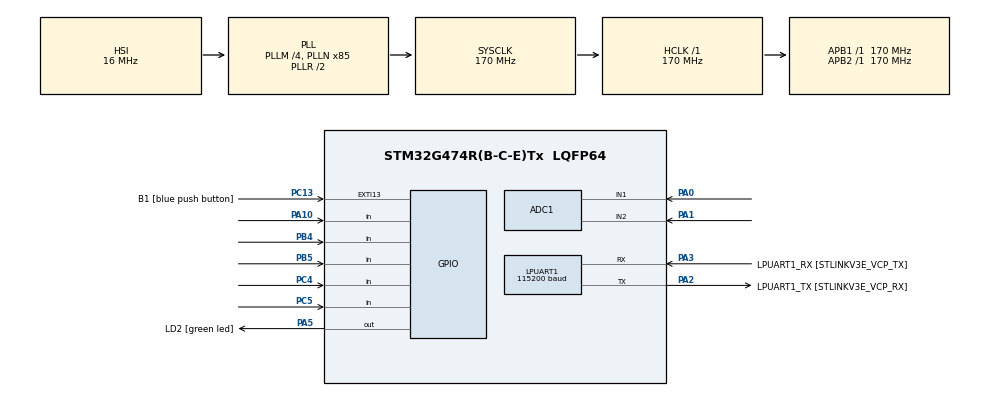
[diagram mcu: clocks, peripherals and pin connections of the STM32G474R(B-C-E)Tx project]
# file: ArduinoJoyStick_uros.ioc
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ADC1.Channel-0\#ChannelRegularConversion=ADC_CHANNEL_1
ADC1.Channel-1\#ChannelRegularConversion=ADC_CHANNEL_2
ADC1.ContinuousConvMode=ENABLE
ADC1.DMAContinuousRequests=ENABLE
ADC1.NbrOfConversion=2
ADC1.NbrOfConversionFlag=1
ADC1.OffsetNumber-0\#ChannelRegularConversion=ADC_OFFSET_NONE
ADC1.OffsetNumber-1\#ChannelRegularConversion=ADC_OFFSET_NONE
ADC1.Rank-0\#ChannelRegularConversion=1
ADC1.Rank-1\#ChannelRegularConversion=2
ADC1.SamplingTime-0\#ChannelRegularConversion=ADC_SAMPLETIME_640CYCLES_5
ADC1.SamplingTime-1\#ChannelRegularConversion=ADC_SAMPLETIME_640CYCLES_5
ADC1.master=1
Dma.ADC1.2.Direction=DMA_PERIPH_TO_MEMORY
Dma.ADC1.2.EventEnable=DISABLE
Dma.ADC1.2.Instance=DMA1_Channel3
Dma.ADC1.2.MemDataAlignment=DMA_MDATAALIGN_HALFWORD
Dma.ADC1.2.MemInc=DMA_MINC_ENABLE
Dma.ADC1.2.Mode=DMA_CIRCULAR
Dma.ADC1.2.PeriphDataAlignment=DMA_PDATAALIGN_HALFWORD
Dma.ADC1.2.PeriphInc=DMA_PINC_DISABLE
Dma.ADC1.2.Polarity=HAL_DMAMUX_REQ_GEN_RISING
Dma.ADC1.2.Priority=DMA_PRIORITY_LOW
Dma.ADC1.2.RequestNumber=1
Dma.ADC1.2.SignalID=NONE
Dma.ADC1.2.SyncEnable=DISABLE
Dma.ADC1.2.SyncPolarity=HAL_DMAMUX_SYNC_NO_EVENT
Dma.ADC1.2.SyncRequestNumber=1
Dma.ADC1.2.SyncSignalID=NONE
Dma.LPUART1_RX.0.Direction=DMA_PERIPH_TO_MEMORY
Dma.LPUART1_RX.0.EventEnable=DISABLE
Dma.LPUART1_RX.0.Instance=DMA1_Channel1
Dma.LPUART1_RX.0.MemDataAlignment=DMA_MDATAALIGN_BYTE
Dma.LPUART1_RX.0.MemInc=DMA_MINC_ENABLE
Dma.LPUART1_RX.0.Mode=DMA_CIRCULAR
Dma.LPUART1_RX.0.PeriphDataAlignment=DMA_PDATAALIGN_BYTE
Dma.LPUART1_RX.0.PeriphInc=DMA_PINC_DISABLE
Dma.LPUART1_RX.0.Polarity=HAL_DMAMUX_REQ_GEN_RISING
Dma.LPUART1_RX.0.Priority=DMA_PRIORITY_VERY_HIGH
Dma.LPUART1_RX.0.RequestNumber=1
Dma.LPUART1_RX.0.SignalID=NONE
Dma.LPUART1_RX.0.SyncEnable=DISABLE
Dma.LPUART1_RX.0.SyncPolarity=HAL_DMAMUX_SYNC_NO_EVENT
Dma.LPUART1_RX.0.SyncRequestNumber=1
Dma.LPUART1_RX.0.SyncSignalID=NONE
Dma.LPUART1_TX.1.Direction=DMA_MEMORY_TO_PERIPH
Dma.LPUART1_TX.1.EventEnable=DISABLE
Dma.LPUART1_TX.1.Instance=DMA1_Channel2
Dma.LPUART1_TX.1.MemDataAlignment=DMA_MDATAALIGN_BYTE
Dma.LPUART1_TX.1.MemInc=DMA_MINC_ENABLE
Dma.LPUART1_TX.1.Mode=DMA_NORMAL
Dma.LPUART1_TX.1.PeriphDataAlignment=DMA_PDATAALIGN_BYTE
Dma.LPUART1_TX.1.PeriphInc=DMA_PINC_DISABLE
Dma.LPUART1_TX.1.Polarity=HAL_DMAMUX_REQ_GEN_RISING
Dma.LPUART1_TX.1.Priority=DMA_PRIORITY_VERY_HIGH
Dma.LPUART1_TX.1.RequestNumber=1
Dma.LPUART1_TX.1.SignalID=NONE
Dma.LPUART1_TX.1.SyncEnable=DISABLE
Dma.LPUART1_TX.1.SyncPolarity=HAL_DMAMUX_SYNC_NO_EVENT
Dma.LPUART1_TX.1.SyncRequestNumber=1
Dma.LPUART1_TX.1.SyncSignalID=NONE
Dma.Request0=LPUART1_RX
Dma.Request1=LPUART1_TX
Dma.Request2=ADC1
FREERTOS.Tasks01=defaultTask,24,3000,StartDefaultTask,As weak,NULL,Static,defaultTaskBuffer,defaultTaskControlBlock
FREERTOS.configENABLE_FPU=1
IWDG.Reload=2499
LPUART1.BaudRate=115200
Mcu.Family=STM32G4
Mcu.Name=STM32G474R(B-C-E)Tx
Mcu.Package=LQFP64
NVIC.ADC1_2_IRQn=true\:5\:0\:false\:false\:true\:true\:true\:true\:true
NVIC.DMA1_Channel1_IRQn=true\:5\:0\:false\:false\:true\:true\:false\:true\:true
NVIC.DMA1_Channel2_IRQn=true\:5\:0\:false\:false\:true\:true\:false\:true\:true
NVIC.DMA1_Channel3_IRQn=true\:5\:0\:false\:false\:true\:true\:false\:true\:true
NVIC.EXTI15_10_IRQn=true\:5\:0\:false\:false\:true\:true\:true\:true\:true
NVIC.LPUART1_IRQn=true\:5\:0\:false\:false\:true\:true\:true\:true\:true
NVIC.PriorityGroup=NVIC_PRIORITYGROUP_4
NVIC.TIM1_UP_TIM16_IRQn=true\:15\:0\:false\:false\:true\:false\:false\:true\:true
NVIC.TimeBase=TIM1_UP_TIM16_IRQn
NVIC.TimeBaseIP=TIM1
PA0.Mode=IN1-Single-Ended
PA0.Signal=ADC1_IN1
PA1.Mode=IN2-Single-Ended
PA1.Signal=ADC1_IN2
PA10.GPIO_PuPd=GPIO_PULLUP
PA10.Signal=GPIO_Input
PA13.GPIO_Label=T_SWDIO
PA13.Signal=SYS_JTMS-SWDIO
PA14.GPIO_Label=T_SWCLK
PA14.Signal=SYS_JTCK-SWCLK
PA2.GPIO_Label=LPUART1_TX [STLINKV3E_VCP_RX]
PA2.Mode=Asynchronous
PA2.Signal=LPUART1_TX
PA3.GPIO_Label=LPUART1_RX [STLINKV3E_VCP_TX]
PA3.Mode=Asynchronous
PA3.Signal=LPUART1_RX
PA5.GPIO_Label=LD2 [green led]
PA5.Signal=GPIO_Output
PB3.GPIO_Label=T_SWO
PB3.Signal=SYS_JTDO-SWO
PB4.GPIO_PuPd=GPIO_PULLUP
PB4.Signal=GPIO_Input
PB5.GPIO_PuPd=GPIO_PULLUP
PB5.Signal=GPIO_Input
PB8-BOOT0.Signal=I2C1_SCL
PB9.Signal=I2C1_SDA
PC13.GPIO_Label=B1 [blue push button]
PC13.Signal=GPXTI13
PC4.GPIO_PuPd=GPIO_PULLUP
PC4.Signal=GPIO_Input
PC5.GPIO_PuPd=GPIO_PULLUP
PC5.Signal=GPIO_Input
ProjectManager.HeapSize=0x200
ProjectManager.StackSize=0x400
ProjectManager.TargetToolchain=STM32CubeIDE
RCC.ADC12Freq_Value=170000000
RCC.ADC345Freq_Value=170000000
RCC.AHBFreq_Value=170000000
RCC.APB1Freq_Value=170000000
RCC.APB1TimFreq_Value=170000000
RCC.APB2Freq_Value=170000000
RCC.APB2TimFreq_Value=170000000
RCC.CortexFreq_Value=170000000
RCC.EXTERNAL_CLOCK_VALUE=12288000
RCC.HCLKFreq_Value=170000000
RCC.HSE_VALUE=24000000
RCC.HSI48_VALUE=48000000
RCC.HSI_VALUE=16000000
RCC.LSE_VALUE=32768
RCC.PLLM=RCC_PLLM_DIV4
RCC.PLLN=85
RCC.RTCClockSelection=RCC_RTCCLKSOURCE_LSE
RCC.SYSCLKFreq_VALUE=170000000
RCC.SYSCLKSource=RCC_SYSCLKSOURCE_PLLCLK
RCC.USBFreq_Value=170000000
RCC.VCOOutputFreq_Value=340000000
VP_FREERTOS_VS_CMSIS_V2.Mode=CMSIS_V2
VP_IWDG_VS_IWDG.Mode=IWDG_Activate
VP_SYS_VS_DBSignals.Mode=DisableDeadBatterySignals
VP_SYS_VS_tim1.Mode=TIM1
board=NUCLEO-G474RE

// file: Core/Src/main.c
/* USER CODE BEGIN Header */
/**
 ******************************************************************************
 * @file           : main.c
 * @brief          : Main program body
 ******************************************************************************
 * @attention
 *
 * Copyright (c) 2024 STMicroelectronics.
 * All rights reserved.
 *
 * This software is licensed under terms that can be found in the LICENSE file
 * in the root directory of this software component.
 * If no LICENSE file comes with this software, it is provided AS-IS.
 *
 ******************************************************************************
 */
/* USER CODE END Header */
#include "main.h"
#include "cmsis_os.h"
#include "adc.h"
#include "dma.h"
#include "iwdg.h"
#include "usart.h"
#include "gpio.h"

/* USER CODE BEGIN Includes */
#include <rcl/rcl.h>
#include <rcl/error_handling.h>
#include <rclc/rclc.h>
#include <rclc/executor.h>
#include <uxr/client/transport.h>
#include <rmw_microxrcedds_c/config.h>
#include <rmw_microros/rmw_microros.h>
#include <math.h>
#include <string.h>
/* Includes MSG Type */
#include <geometry_msgs/msg/twist.h>
#include <rrr_robot_interfaces/srv/rrr_target_path.h>
#include <rrr_robot_interfaces/srv/rrr_mode.h>
#include "rosidl_runtime_c/string_functions.h"
//#include

/* USER CODE END Includes */

/* USER CODE BEGIN PM */
#define RCSOFTCHECK(fn) if (fn != RCL_RET_OK) {};
/* USER CODE END PM */

/* USER CODE BEGIN PV */

/* IDK */
rcl_init_options_t init_options;

/* Node */
rclc_support_t support;
rcl_allocator_t allocator;
rcl_node_t node;
rclc_executor_t executor;

/* Service Client*/
rcl_client_t savepath_client;
rcl_client_t ref_client;
rcl_client_t mode_client;

/* pub */
rcl_publisher_t cmdvel_publisher;

/* Massage */
geometry_msgs__msg__Twist twist_msg;
rrr_robot_interfaces__srv__RRRTargetPath_Request savepath_request;
rrr_robot_interfaces__srv__RRRMode_Request mode_request;
rrr_robot_interfaces__srv__RRRMode_Request ref_request;

/* Timer */
rcl_timer_t timer;

/* Start Joy Parameter */
//Joy XY
uint16_t ADC_RawRead[200] = { 0 };
uint16_t x_axis = 0;
uint16_t y_axis = 0;
uint16_t center_x = 0;
uint16_t center_y = 0;

// Joy Z
float linearZ_velocity = 0.0f;
uint8_t z_step = 0.1f;

//mode
uint16_t teleop_num = 0;
uint16_t ref_num = 0;

// Stare Button
GPIO_PinState aButtonState = GPIO_PIN_RESET;
GPIO_PinState bButtonState = GPIO_PIN_RESET;
GPIO_PinState cButtonState = GPIO_PIN_RESET;
GPIO_PinState dButtonState = GPIO_PIN_RESET;
GPIO_PinState kButtonState = GPIO_PIN_RESET;

// Prev Button
GPIO_PinState aPrevButton = GPIO_PIN_RESET;
GPIO_PinState bPrevButton = GPIO_PIN_RESET;
GPIO_PinState cPrevButton = GPIO_PIN_RESET;
GPIO_PinState dPrevButton = GPIO_PIN_RESET;
GPIO_PinState kPrevButton = GPIO_PIN_RESET;
/* End Joy Parameter */

//DEBUG
uint16_t DEBUG_Count = 0;

/* USER CODE END PV */

void SystemClock_Config(void);
void MX_FREERTOS_Init(void);
/* USER CODE BEGIN PFP */
/* Start MicroRos Function*/
bool cubemx_transport_open(struct uxrCustomTransport *transport);
bool cubemx_transport_close(struct uxrCustomTransport *transport);
size_t cubemx_transport_write(struct uxrCustomTransport *transport,
		const uint8_t *buf, size_t len, uint8_t *err);
size_t cubemx_transport_read(struct uxrCustomTransport *transport, uint8_t *buf,
		size_t len, int timeout, uint8_t *err);

void* microros_allocate(size_t size, void *state);
void microros_deallocate(void *pointer, void *state);
void* microros_reallocate(void *pointer, size_t size, void *state);
void* microros_zero_allocate(size_t number_of_elements, size_t size_of_element, void *state);
/* End MicroRos Function*/

/* Start my Function*/
void ReadADC_AVERAGE();
void SentCMDVEL();
void CheckButtonK();
void CheckButtonB();
void CheckButtonD();
// Client Callback
//void SavePath_client_callback(const rrr_robot_interfaces__srv__RRRTargetPath_Response * response_msg);
void ref_client_callback(const void * response_msg);
void mode_client_callback(const void * response_msg);
/* End my Function*/

/* USER CODE END PFP */

/* USER CODE BEGIN 0 */
/* USER CODE END Header_StartDefaultTask */

/* Start Out of Start DefaultTask */
void timer_callback(rcl_timer_t *timer, int64_t last_call_time) {
	if (timer != NULL) {
		/* Code here*/
		ReadADC_AVERAGE();
		SentCMDVEL();
		CheckButtonK();
		CheckButtonB();
		CheckButtonD();

		HAL_IWDG_Refresh(&hiwdg);
	}
}

void StartDefaultTask(void *argument) {
	/* USER CODE BEGIN 5 */

	// micro-ROS configuration
	rmw_uros_set_custom_transport(true, (void*) &hlpuart1, cubemx_transport_open, cubemx_transport_close, cubemx_transport_write, cubemx_transport_read);

	rcl_allocator_t freeRTOS_allocator =
			rcutils_get_zero_initialized_allocator();
	freeRTOS_allocator.allocate = microros_allocate;
	freeRTOS_allocator.deallocate = microros_deallocate;
	freeRTOS_allocator.reallocate = microros_reallocate;
	freeRTOS_allocator.zero_allocate = microros_zero_allocate;

	if (!rcutils_set_default_allocator(&freeRTOS_allocator)) {
		printf("Error on default allocators (line %d)\n", __LINE__);
	}

	// micro-ROS app
	allocator = rcl_get_default_allocator();

	//create init_options
	init_options = rcl_get_zero_initialized_init_options();
	RCSOFTCHECK(rcl_init_options_init(&init_options, allocator));
	RCSOFTCHECK(rcl_init_options_set_domain_id(&init_options, 26)); //Set Domain ID

	rclc_support_init_with_options(
			&support, 0,
			NULL,
			&init_options,
			&allocator
	);

	// create node
	rclc_node_init_default(
			&node,
			"cubemx_node",
			"",
			&support
	); //Node name

	// create cmd_vel publisher
	rclc_publisher_init_default(
			&cmdvel_publisher,
			&node,
			ROSIDL_GET_MSG_TYPE_SUPPORT(geometry_msgs, msg, Twist),
			"/cmd_vel"
	);

	// create save_path client
	rclc_client_init_default(
			&savepath_client,
			&node,
			ROSIDL_GET_SRV_TYPE_SUPPORT(rrr_robot_interfaces, srv, RRRTargetPath),
			"/SavePath"
	);

	// create Ref client
	rclc_client_init_default(
			&ref_client,
			&node,
			ROSIDL_GET_SRV_TYPE_SUPPORT(rrr_robot_interfaces, srv, RRRMode), //Wait to change
			"/Ref"
	);

	// create Mode client
	rclc_client_init_default(
			&mode_client,
			&node,
			ROSIDL_GET_SRV_TYPE_SUPPORT(rrr_robot_interfaces, srv, RRRMode), //Wait to change
			"/Mode"
	);

	// create Timer
	rclc_timer_init_default(
			&timer, &support,
			RCL_MS_TO_NS(10),
			timer_callback
	);

	// create executer
	executor = rclc_executor_get_zero_initialized_executor();
	rclc_executor_init(&executor, &support.context, 1, &allocator);
	rclc_executor_add_timer(&executor, &timer);
//	rclc_executor_add_client(&executor, &savepath_client, &savepath_response, SavePath_client_callback);
	rclc_executor_spin(&executor); //ต้องเรียกก่อนถึงจะเริ่มทำงาน

	for (;;) {
		osDelay(10);
	}
	/* USER CODE END 5 */
}
/* USER CODE END 0 */

int main(void)
{

  /* MCU Configuration--------------------------------------------------------*/

  /* Reset of all peripherals, Initializes the Flash interface and the Systick. */
  HAL_Init();

  /* Configure the system clock */
  SystemClock_Config();

  /* Initialize all configured peripherals */
  MX_GPIO_Init();
  MX_DMA_Init();
  MX_LPUART1_UART_Init();
  MX_ADC1_Init();
  MX_IWDG_Init();
  /* USER CODE BEGIN 2 */
  //    	rcl_send_request(&savepath_client, &savepath_request, &sequence_number);

  /* Start Analog Read */
  HAL_ADCEx_Calibration_Start(&hadc1, ADC_SINGLE_ENDED);
  HAL_ADC_Start_DMA(&hadc1, ADC_RawRead, 200);
  /* End Analog Read */

  /* USER CODE END 2 */

  /* Init scheduler */
  osKernelInitialize();

  /* Call init function for freertos objects (in cmsis_os2.c) */
  MX_FREERTOS_Init();

  /* Start scheduler */
  osKernelStart();

  /* We should never get here as control is now taken by the scheduler */

  /* Infinite loop */
	while (1) {

	}
}

void SystemClock_Config(void)
{
  RCC_OscInitTypeDef RCC_OscInitStruct = {0};
  RCC_ClkInitTypeDef RCC_ClkInitStruct = {0};

  /** Configure the main internal regulator output voltage
  */
  HAL_PWREx_ControlVoltageScaling(PWR_REGULATOR_VOLTAGE_SCALE1_BOOST);

  /** Initializes the RCC Oscillators according to the specified parameters
  * in the RCC_OscInitTypeDef structure.
  */
  RCC_OscInitStruct.OscillatorType = RCC_OSCILLATORTYPE_HSI|RCC_OSCILLATORTYPE_LSI;
  RCC_OscInitStruct.HSIState = RCC_HSI_ON;
  RCC_OscInitStruct.HSICalibrationValue = RCC_HSICALIBRATION_DEFAULT;
  RCC_OscInitStruct.LSIState = RCC_LSI_ON;
  RCC_OscInitStruct.PLL.PLLState = RCC_PLL_ON;
  RCC_OscInitStruct.PLL.PLLSource = RCC_PLLSOURCE_HSI;
  RCC_OscInitStruct.PLL.PLLM = RCC_PLLM_DIV4;
  RCC_OscInitStruct.PLL.PLLN = 85;
  RCC_OscInitStruct.PLL.PLLP = RCC_PLLP_DIV2;
  RCC_OscInitStruct.PLL.PLLQ = RCC_PLLQ_DIV2;
  RCC_OscInitStruct.PLL.PLLR = RCC_PLLR_DIV2;
  if (HAL_RCC_OscConfig(&RCC_OscInitStruct) != HAL_OK)
  {
    Error_Handler();
  }

  /** Initializes the CPU, AHB and APB buses clocks
  */
  RCC_ClkInitStruct.ClockType = RCC_CLOCKTYPE_HCLK|RCC_CLOCKTYPE_SYSCLK
                              |RCC_CLOCKTYPE_PCLK1|RCC_CLOCKTYPE_PCLK2;
  RCC_ClkInitStruct.SYSCLKSource = RCC_SYSCLKSOURCE_PLLCLK;
  RCC_ClkInitStruct.AHBCLKDivider = RCC_SYSCLK_DIV1;
  RCC_ClkInitStruct.APB1CLKDivider = RCC_HCLK_DIV1;
  RCC_ClkInitStruct.APB2CLKDivider = RCC_HCLK_DIV1;

  if (HAL_RCC_ClockConfig(&RCC_ClkInitStruct, FLASH_LATENCY_4) != HAL_OK)
  {
    Error_Handler();
  }
}

/* USER CODE BEGIN 4 */

void ReadADC_AVERAGE() {
	uint32_t temp_1 = 0;
	uint32_t temp_2 = 0;
	for (int i = 0; i < 200; i++) {
		if (i % 2 == 0) {
			temp_1 += ADC_RawRead[i];
		} else if (i % 2 == 1) {
			temp_2 += ADC_RawRead[i];
		}
	}
	x_axis = (temp_1 / 100);
	y_axis = (temp_2 / 100);
}

void SentCMDVEL(){
	/* Call Velocity */
	float linearX_velocity = (y_axis - 2048) / 2048.0f;  // Normalize -1.0 to 1.0
	float linearY_velocity = (x_axis - 2048) / 2048.0f; // Normalize -1.0 to 1.0

	/* Check DEADZONE*/
	if (fabs(linearX_velocity) < 0.025f) {
		linearX_velocity = 0.0f;
	}

	if (fabs(linearY_velocity) < 0.015f) {
		linearY_velocity = 0.0f;
	}

	/* Z button */
	aButtonState = HAL_GPIO_ReadPin(GPIOC, GPIO_PIN_5);
	cButtonState = HAL_GPIO_ReadPin(GPIOC, GPIO_PIN_4);

	/* readbutton state */
	if (aButtonState == GPIO_PIN_RESET && aPrevButton == GPIO_PIN_SET) {
		linearZ_velocity += 0.1;

		HAL_Delay(10);

		/* update button state */
		aPrevButton = aButtonState;
		cPrevButton = cButtonState;
	    if (linearZ_velocity > 1.0f) linearZ_velocity = 1.0;
	}
	if (cButtonState == GPIO_PIN_RESET && cPrevButton == GPIO_PIN_SET) {
		linearZ_velocity -= 0.1;
	    if (linearZ_velocity < -1.0f) linearZ_velocity = -1.0;
	}

	if (fabs(linearZ_velocity) < 0.001f) {
		linearZ_velocity = 0.0f;
	}

	HAL_Delay(10);

	/* update button state */
	aPrevButton = aButtonState;
	cPrevButton = cButtonState;

	twist_msg.linear.x = linearX_velocity;
	twist_msg.linear.y = linearY_velocity;
	twist_msg.linear.z = linearZ_velocity;

	RCSOFTCHECK(rcl_publish(&cmdvel_publisher, &twist_msg, NULL));
}

void CheckButtonK() {
    kButtonState = HAL_GPIO_ReadPin(GPIOB, GPIO_PIN_5);

    if (kButtonState == GPIO_PIN_RESET && kPrevButton == GPIO_PIN_SET) {

    	rrr_robot_interfaces__srv__RRRTargetPath_Request__init(&savepath_request);

    	savepath_request.save_path = true;
    	savepath_request.call_path = false;

    	int64_t sequence_number;
    	RCSOFTCHECK(rcl_send_request(&savepath_client, &savepath_request, &sequence_number));

    }
    HAL_Delay(10);

    kPrevButton = kButtonState;
}

void CheckButtonB() {
    bButtonState = HAL_GPIO_ReadPin(GPIOA, GPIO_PIN_10);

    if (bButtonState == GPIO_PIN_RESET && bPrevButton == GPIO_PIN_SET) {

    	rrr_robot_interfaces__srv__RRRMode_Request__init(&mode_request);

    	teleop_num = teleop_num % 2;
    	teleop_num = teleop_num + 1;

    	if (teleop_num == 1){
    		rosidl_runtime_c__String__assign(&mode_request.mode_call, "Teleop");
    		rosidl_runtime_c__String__assign(&mode_request.ref, "");
    	}
		else if (teleop_num == 2){
			rosidl_runtime_c__String__assign(&mode_request.mode_call, "Auto");
			rosidl_runtime_c__String__assign(&mode_request.ref, "");
		};

    	int64_t sequence_number;
        RCSOFTCHECK(rcl_send_request(&mode_client, &mode_request, &sequence_number));
    }
    HAL_Delay(10);

    bPrevButton = bButtonState;
}

void CheckButtonD() {
    dButtonState = HAL_GPIO_ReadPin(GPIOB, GPIO_PIN_4);

    if (dButtonState == GPIO_PIN_RESET && dPrevButton == GPIO_PIN_SET) {

    	rrr_robot_interfaces__srv__RRRMode_Request__init(&ref_request);

    	ref_num = ref_num % 2;
    	ref_num = ref_num + 1;

    	if (ref_num == 1){
    		rosidl_runtime_c__String__assign(&ref_request.mode_call, "Teleop");
    		rosidl_runtime_c__String__assign(&ref_request.ref, "base");
    	}
		else if (ref_num == 2){
			rosidl_runtime_c__String__assign(&ref_request.mode_call, "Teleop");
			rosidl_runtime_c__String__assign(&ref_request.ref, "hand");
		};

    	int64_t sequence_number;
    	RCSOFTCHECK(rcl_send_request(&ref_client, &ref_request, &sequence_number));
    }
    HAL_Delay(10);

    dPrevButton = dButtonState;
}

/* USER CODE END 4 */

void HAL_TIM_PeriodElapsedCallback(TIM_HandleTypeDef *htim)
{
  if (htim->Instance == TIM1) {
    HAL_IncTick();
  }
}

void Error_Handler(void)
{
	__disable_irq();
	while (1) {
	}
}
